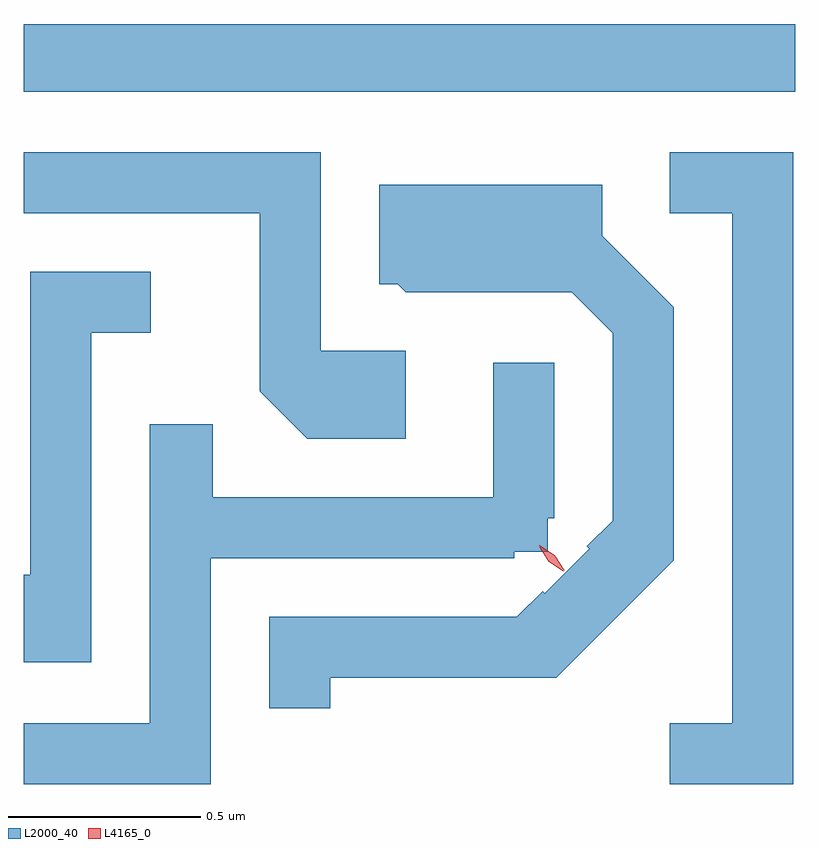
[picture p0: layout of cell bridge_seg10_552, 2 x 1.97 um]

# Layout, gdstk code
import gdstk
lib = gdstk.Library(unit=1e-6, precision=1e-09)
def R(c, l, rs):  # rectangles x0, y0, x1, y1
    for r in rs: c.add(gdstk.rectangle(r[:2], r[2:], *l))
def P(c, l, *ps):  # polygons
    for p in ps: c.add(gdstk.Polygon(p, *l))
L2000_40 = (2000, 40)
L4165_0 = (4165, 0)

bridge_seg10_552 = lib.new_cell('bridge_seg10_552')
R(bridge_seg10_552, L2000_40, [(829.489,2182.736,831.489,2182.911)])
P(bridge_seg10_552, L2000_40, [(830.479,2182.064),(830.259,2182.064),(830.259,2182.579),(829.489,2182.579),(829.489,2182.421),(830.101,2182.421),(830.101,2181.959),(830.224,2181.836),(830.479,2181.836)],
  [(831.484,2182.579),(831.163,2182.579),(831.163,2182.421),(831.326,2182.421),(831.326,2181.099),(831.163,2181.099),(831.163,2180.941),(831.484,2180.941)],
  [(830.284,2181.216),(830.87,2181.216),(831.174,2181.521),(831.174,2182.177),(830.989,2182.362),(830.989,2182.494),(830.411,2182.494),(830.411,2182.236),(830.459,2182.236),(830.479,2182.216),(830.909,2182.216),(831.016,2182.109),(831.016,2181.624),(830.949,2181.557),(830.955,2181.551),(830.839,2181.436),(830.834,2181.441),(830.767,2181.374),(830.126,2181.374),(830.126,2181.138),(830.284,2181.138)],
  [(829.664,2182.111),(829.818,2182.111),(829.818,2182.269),(829.506,2182.269),(829.506,2181.484),(829.489,2181.484),(829.489,2181.256),(829.664,2181.256)],
  [(829.974,2181.526),(830.76,2181.526),(830.76,2181.543),(830.848,2181.543),(830.848,2181.63),(830.864,2181.63),(830.864,2182.033),(830.706,2182.033),(830.706,2181.684),(829.979,2181.684),(829.979,2181.873),(829.816,2181.873),(829.816,2181.099),(829.489,2181.099),(829.489,2180.941),(829.974,2180.941)])
P(bridge_seg10_552, L4165_0, [(830.892,2181.494),(830.852,2181.52),(830.825,2181.56),(830.825,2181.56),(830.826,2181.56),(830.866,2181.534),(830.892,2181.494),(830.892,2181.494)],
  [(830.888,2181.492),(830.85,2181.517),(830.825,2181.556),(830.825,2181.556),(830.825,2181.556),(830.864,2181.532),(830.889,2181.493),(830.889,2181.492)])

lib.write_gds('bridge_seg10_552.gds')
